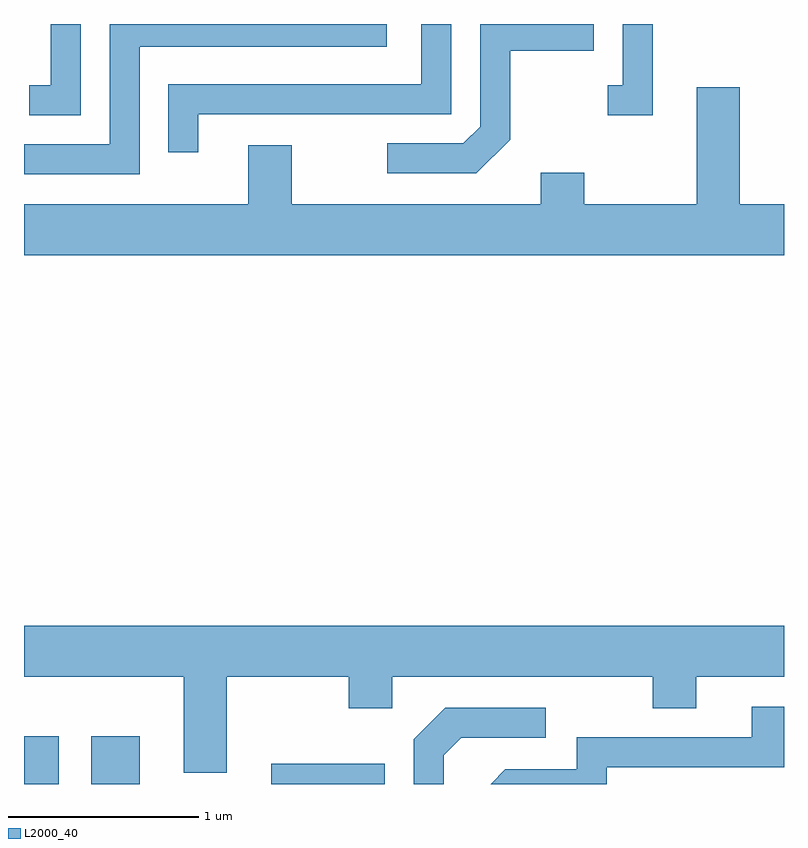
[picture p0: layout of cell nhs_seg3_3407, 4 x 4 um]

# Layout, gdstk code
import gdstk
lib = gdstk.Library(unit=1e-6, precision=1e-09)
def R(c, l, rs):  # rectangles x0, y0, x1, y1
    for r in rs: c.add(gdstk.rectangle(r[:2], r[2:], *l))
def P(c, l, *ps):  # polygons
    for p in ps: c.add(gdstk.Polygon(p, *l))
L2000_40 = (2000, 40)

nhs_seg3_3407 = lib.new_cell('nhs_seg3_3407')
R(nhs_seg3_3407, L2000_40, [(285.611,1129.892,285.794,1130.144), (285.966,1129.892,286.219,1130.144), (286.911,1129.892,287.509,1129.999)])
P(nhs_seg3_3407, L2000_40, [(286.219,1133.771),(287.519,1133.771),(287.519,1133.892),(286.061,1133.892),(286.061,1133.259),(285.611,1133.259),(285.611,1133.101),(286.219,1133.101)],
  [(288.169,1133.284),(288.169,1133.751),(288.609,1133.751),(288.609,1133.892),(288.011,1133.892),(288.011,1133.352),(287.924,1133.264),(287.523,1133.264),(287.523,1133.106),(287.992,1133.106)],
  [(285.909,1133.892),(285.751,1133.892),(285.751,1133.569),(285.638,1133.569),(285.638,1133.411),(285.909,1133.411)],
  [(286.529,1133.416),(287.859,1133.416),(287.859,1133.892),(287.701,1133.892),(287.701,1133.574),(286.371,1133.574),(286.371,1133.218),(286.529,1133.218)],
  [(288.919,1133.892),(288.761,1133.892),(288.761,1133.569),(288.683,1133.569),(288.683,1133.411),(288.919,1133.411)],
  [(289.611,1132.944),(289.379,1132.944),(289.379,1133.559),(289.151,1133.559),(289.151,1132.944),(288.559,1132.944),(288.559,1133.109),(288.331,1133.109),(288.331,1132.944),(287.019,1132.944),(287.019,1133.254),(286.791,1133.254),(286.791,1132.944),(285.611,1132.944),(285.611,1132.676),(289.611,1132.676)],
  [(285.611,1130.456),(286.451,1130.456),(286.451,1129.951),(286.679,1129.951),(286.679,1130.456),(287.321,1130.456),(287.321,1130.291),(287.549,1130.291),(287.549,1130.456),(288.921,1130.456),(288.921,1130.291),(289.149,1130.291),(289.149,1130.456),(289.611,1130.456),(289.611,1130.724),(285.611,1130.724)],
  [(288.679,1129.981),(289.611,1129.981),(289.611,1130.299),(289.441,1130.299),(289.441,1130.139),(288.521,1130.139),(288.521,1129.969),(288.144,1129.969),(288.067,1129.892),(288.679,1129.892)],
  [(287.819,1130.044),(287.912,1130.136),(288.358,1130.136),(288.358,1130.294),(287.829,1130.294),(287.661,1130.127),(287.661,1129.892),(287.819,1129.892)])

lib.write_gds('nhs_seg3_3407.gds')
